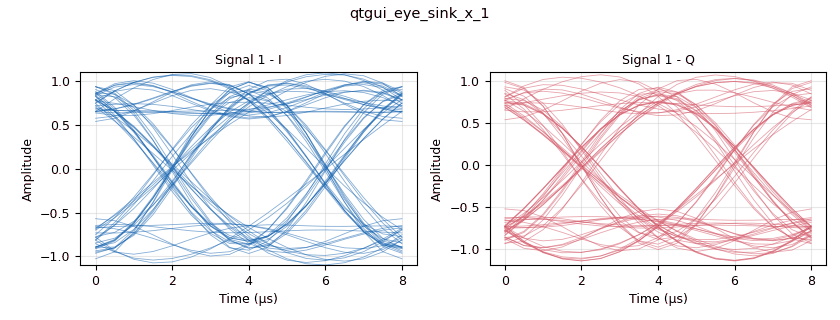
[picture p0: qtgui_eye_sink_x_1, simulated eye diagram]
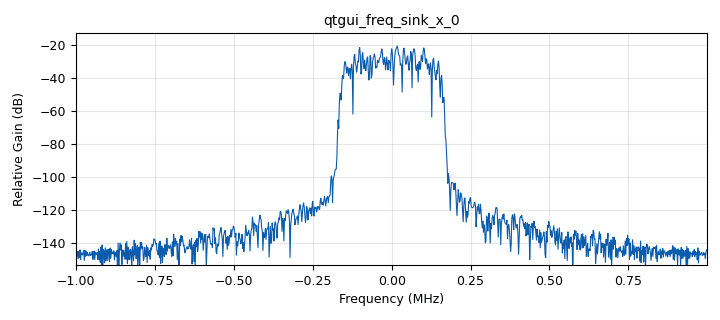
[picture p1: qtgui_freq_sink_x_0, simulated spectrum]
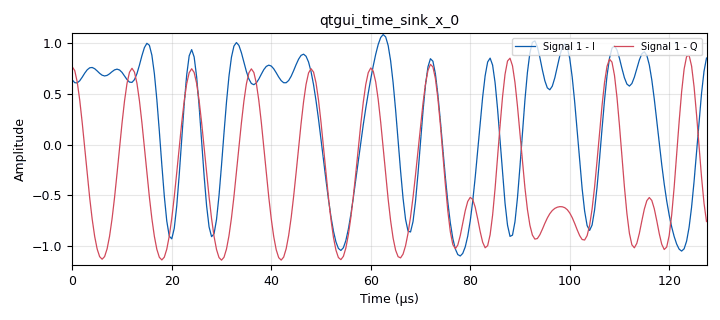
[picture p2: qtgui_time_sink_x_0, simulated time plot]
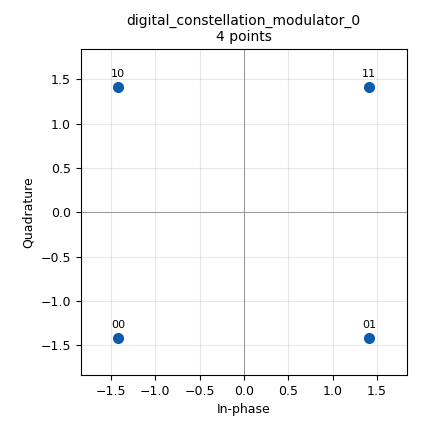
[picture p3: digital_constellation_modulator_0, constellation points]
options:
  parameters:
    generate_options: qt_gui
    id: ex_fig_5_7
    output_language: python
    title: Figure 5.7 GRC QPSK modulator with hierarchical (hier) block
  states: {}

blocks:
- name: Ex_BW
  id: variable_qtgui_range
  parameters:
    min_len: '100'
    start: '0.2'
    step: '0.05'
    stop: '0.6'
    value: '0.35'
  states: {}
- name: deltaf
  id: variable_qtgui_range
  parameters:
    min_len: '100'
    start: '-75000'
    step: '100'
    stop: '75000'
    value: '4700'
  states: {}
- name: freq
  id: variable
  parameters:
    value: 850e6
  states: {}
- name: gain
  id: variable_qtgui_range
  parameters:
    min_len: '100'
    start: '0'
    step: '3'
    stop: '49'
    value: '24'
  states: {}
- name: my_const
  id: variable_constellation
  parameters:
    precision: '8'
    type: qpsk
  states: {}
- name: nfilts
  id: variable
  parameters:
    value: '8'
  states: {}
- name: samp_rate
  id: variable
  parameters:
    value: sps*symb_rate
  states: {}
- name: sps
  id: variable
  parameters:
    value: '8'
  states: {}
- name: symb_rate
  id: variable
  parameters:
    value: 250e3
  states: {}
- name: analog_random_source_x_0
  id: analog_random_source_x
  parameters:
    max: '255'
    min: '0'
    num_samps: '10000'
    repeat: 'True'
    type: byte
  states: {}
- name: blocks_multiply_const_vxx_0
  id: blocks_multiply_const_vxx
  parameters:
    const: '0.5'
    type: complex
  states: {}
- name: blocks_multiply_const_vxx_0_0
  id: blocks_multiply_const_vxx
  parameters:
    const: '1'
    type: complex
  states: {}
- name: digital_constellation_modulator_0
  id: digital_constellation_modulator
  parameters:
    constellation: my_const
    differential: 'False'
    excess_bw: Ex_BW
    samples_per_symbol: sps
  states: {}
- name: epy_block_0
  id: epy_block
  parameters:
    _source_code: |
      """
      Embedded Python Blocks:

      Each time this file is saved, GRC will instantiate the first class it finds
      to get ports and parameters of your block. The arguments to __init__  will
      be the parameters. All of them are required to have default values!
      """

      import numpy as np
      from gnuradio import gr


      class blk(gr.sync_block):  # other base classes are basic_block, decim_block, interp_block
          """Embedded Python Block example - a simple multiply const"""

          def __init__(self, example_param=1.0):  # only default arguments here
              """arguments to this function show up as parameters in GRC"""
              gr.sync_block.__init__(
                  self,
                  name='Variance Calculation Python Block',   # will show up in GRC
                  in_sig=[np.complex64],
                  out_sig=[np.float32]
              )
              # if an attribute with the same name as a parameter is found,
              # a callback is registered (properties work, too).
              self.example_param = example_param

          def work(self, input_items, output_items):
              """example: multiply with constant"""
              output_items[0][:] = np.var(input_items[0])
              return len(output_items[0])
    example_param: '1.0'
  states: {}
- name: iio_pluto_sink_0
  id: iio_pluto_sink
  parameters:
    attenuation1: gain
    bandwidth: '1000000'
    buffer_size: '32768'
    cyclic: 'False'
    filter_source: '''Auto'''
    frequency: int(freq)+deltaf
    samplerate: int(samp_rate)
    type: fc32
    uri: ip:192.168.2.1
  states: {}
- name: import_1
  id: import
  parameters:
    imports: import numpy
  states: {}
- name: osmosdr_sink_0
  id: osmosdr_sink
  parameters:
    bb_gain0: '20'
    bw0: '1000000'
    freq0: int(freq)+deltaf
    gain0: gain
    if_gain0: '20'
    sample_rate: int(samp_rate)
    sync: sync
    type: fc32
  states: {state: disabled}
- name: qtgui_eye_sink_x_1
  id: qtgui_eye_sink_x
  parameters:
    grid: 'True'
    label1: Signal 1 - I
    label2: Signal 1 - Q
    samp_per_symbol: sps
    size: '1024'
    srate: samp_rate
    type: complex
    ymax: '1.1'
    ymin: '-1.1'
  states: {}
- name: qtgui_freq_sink_x_0
  id: qtgui_freq_sink_x
  parameters:
    autoscale: 'True'
    bw: samp_rate
    fc: '0'
    fftsize: '1024'
    grid: 'True'
    type: complex
    ymax: '-20'
    ymin: '-120'
  states: {}
- name: qtgui_number_sink_0_0
  id: qtgui_number_sink
  parameters:
    graph_type: qtgui.NUM_GRAPH_HORIZ
    type: float
  states: {}
- name: qtgui_time_sink_x_0
  id: qtgui_time_sink_x
  parameters:
    grid: 'True'
    label1: Signal 1 - I
    label2: Signal 1 - Q
    size: '256'
    srate: samp_rate
    type: complex
    ymax: '1.1'
    ymin: '-1.1'
  states: {}

connections:
- [analog_random_source_x_0, '0', digital_constellation_modulator_0, '0']
- [blocks_multiply_const_vxx_0, '0', blocks_multiply_const_vxx_0_0, '0']
- [blocks_multiply_const_vxx_0, '0', epy_block_0, '0']
- [blocks_multiply_const_vxx_0, '0', iio_pluto_sink_0, '0']
- [blocks_multiply_const_vxx_0, '0', osmosdr_sink_0, '0']
- [blocks_multiply_const_vxx_0, '0', qtgui_freq_sink_x_0, '0']
- [blocks_multiply_const_vxx_0, '0', qtgui_time_sink_x_0, '0']
- [blocks_multiply_const_vxx_0_0, '0', qtgui_eye_sink_x_1, '0']
- [digital_constellation_modulator_0, '0', blocks_multiply_const_vxx_0, '0']
- [epy_block_0, '0', qtgui_number_sink_0_0, '0']

metadata:
  file_format: 1
  grc_version: 3.10.9.2
